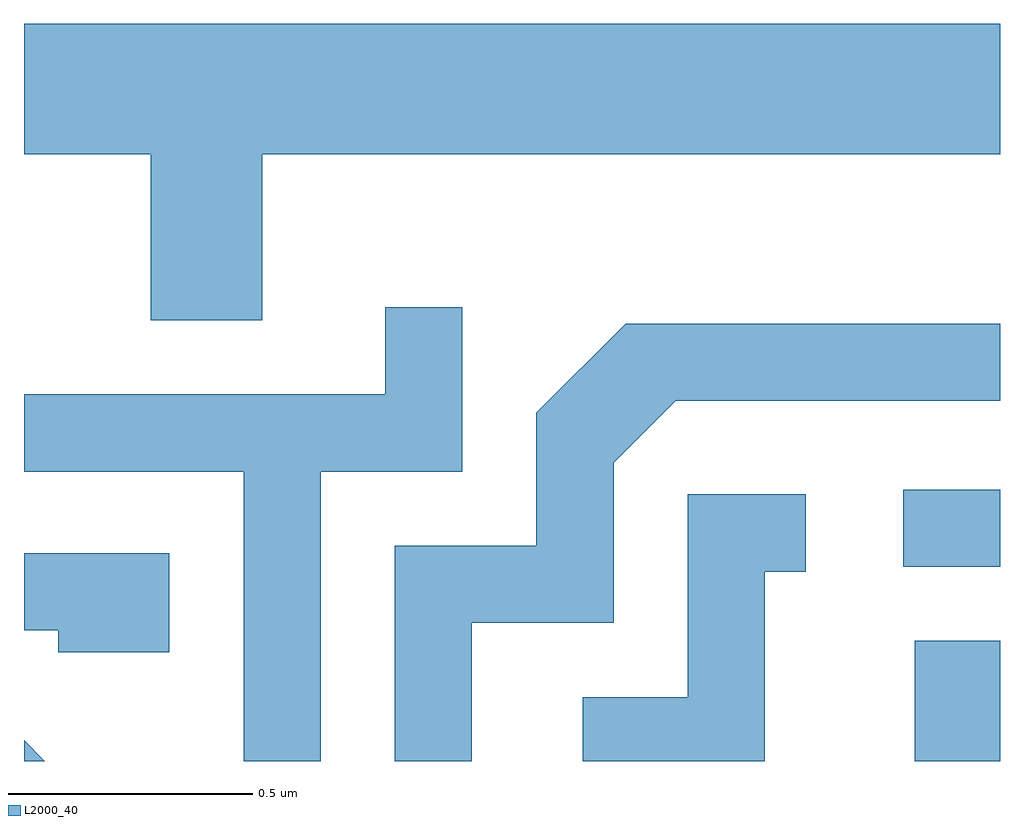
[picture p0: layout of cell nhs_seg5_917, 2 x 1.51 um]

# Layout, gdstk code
import gdstk
lib = gdstk.Library(unit=1e-6, precision=1e-09)
def R(c, l, rs):  # rectangles x0, y0, x1, y1
    for r in rs: c.add(gdstk.rectangle(r[:2], r[2:], *l))
def P(c, l, *ps):  # polygons
    for p in ps: c.add(gdstk.Polygon(p, *l))
L2000_40 = (2000, 40)

nhs_seg5_917 = lib.new_cell('nhs_seg5_917')
R(nhs_seg5_917, L2000_40, [(193.436,1491.072,193.611,1491.319), (193.413,1491.471,193.611,1491.629)])
P(nhs_seg5_917, L2000_40, [(192.099,1492.316),(193.611,1492.316),(193.611,1492.584),(191.611,1492.584),(191.611,1492.316),(191.871,1492.316),(191.871,1491.976),(192.099,1491.976)],
  [(192.219,1491.666),(192.509,1491.666),(192.509,1492.003),(192.351,1492.003),(192.351,1491.824),(191.611,1491.824),(191.611,1491.666),(192.061,1491.666),(192.061,1491.072),(192.219,1491.072)],
  [(192.529,1491.356),(192.819,1491.356),(192.819,1491.684),(192.947,1491.811),(193.611,1491.811),(193.611,1491.969),(192.844,1491.969),(192.661,1491.787),(192.661,1491.514),(192.371,1491.514),(192.371,1491.072),(192.529,1491.072)],
  [(193.129,1491.461),(193.213,1491.461),(193.213,1491.619),(192.971,1491.619),(192.971,1491.204),(192.756,1491.204),(192.756,1491.072),(193.129,1491.072)],
  [(191.909,1491.499),(191.611,1491.499),(191.611,1491.341),(191.681,1491.341),(191.681,1491.296),(191.909,1491.296)],
  [(191.611,1491.115),(191.611,1491.072),(191.654,1491.072)])

lib.write_gds('nhs_seg5_917.gds')
